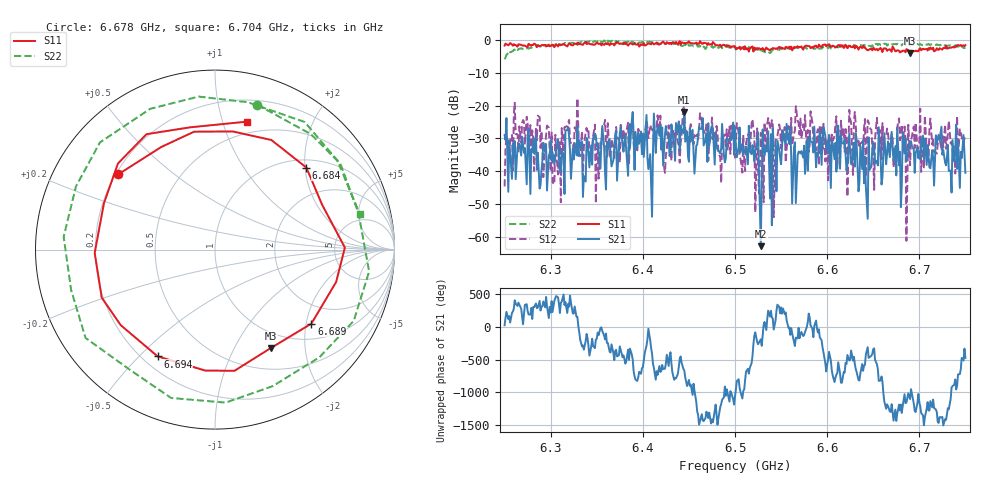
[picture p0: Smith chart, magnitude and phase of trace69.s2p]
# Hz S RI R 50
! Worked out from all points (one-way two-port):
!   401 points, 6.25 GHz to 6.75 GHz, reference 50 ohm
!   highest |S21| = -21.96 dB at 6.445 GHz (marker M1); lowest = -62.9 dB at 6.528 GHz (marker M2)
!   lowest |S11| = -4.0 dB at 6.69 GHz (marker M3), VSWR 4.41, Z = 38.7 - j70.6 ohm
!   |S11| at or under -10 dB: nowhere
!   |S22| runs from -5.9 to -0.2 dB; largest |S21 - S12| = 0.18
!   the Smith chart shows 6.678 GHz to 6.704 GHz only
!   S11 on the Smith chart (normalised r, x): 6.678 GHz: 0.21, +0.33; 6.684 GHz: 1.18, +2.03; 6.689 GHz: 1.41, -2.15; 6.694 GHz: 0.26, -0.57; 6.704 GHz: 0.39, +1.21
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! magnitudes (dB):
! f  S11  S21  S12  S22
! 6.25 GHz  -1.7  -29.0  -44.7  -5.9
! 6.271 GHz  -1.6  -34.4  -24.9  -2.7
! 6.334 GHz  -1.4  -31.0  -27.9  -0.5
! 6.388 GHz  -1.1  -24.7  -28.1  -0.6
! 6.408 GHz  -1.2  -34.8  -25.9  -0.6
! 6.418 GHz  -1.4  -29.2  -27.8  -1.2
! 6.424 GHz  -1.2  -28.9  -40.5  -1.1
! 6.445 GHz  -0.9  -22.0  -21.6  -1.6
! 6.5 GHz  -1.9  -26.5  -35.9  -2.4
! 6.528 GHz  -2.8  -62.9  -28.3  -3.2
! 6.538 GHz  -3.2  -48.3  -26.6  -4.0
! 6.544 GHz  -2.7  -32.4  -30.7  -3.2
! 6.584 GHz  -2.1  -31.3  -25.2  -2.3
! 6.641 GHz  -2.2  -35.6  -24.1  -1.5
! 6.668 GHz  -2.9  -35.7  -34.1  -1.3
! 6.678 GHz  -3.3  -38.2  -23.9  -1.5
! 6.684 GHz  -3.3  -34.7  -26.4  -1.2
! 6.689 GHz  -3.4  -33.0  -31.2  -1.3
! 6.69 GHz  -4.0  -31.1  -38.2  -1.7
! 6.694 GHz  -3.4  -33.4  -26.4  -1.5
! 6.704 GHz  -2.7  -29.2  -30.0  -1.6
! 6.75 GHz  -1.6  -40.5  -30.3  -2.3
